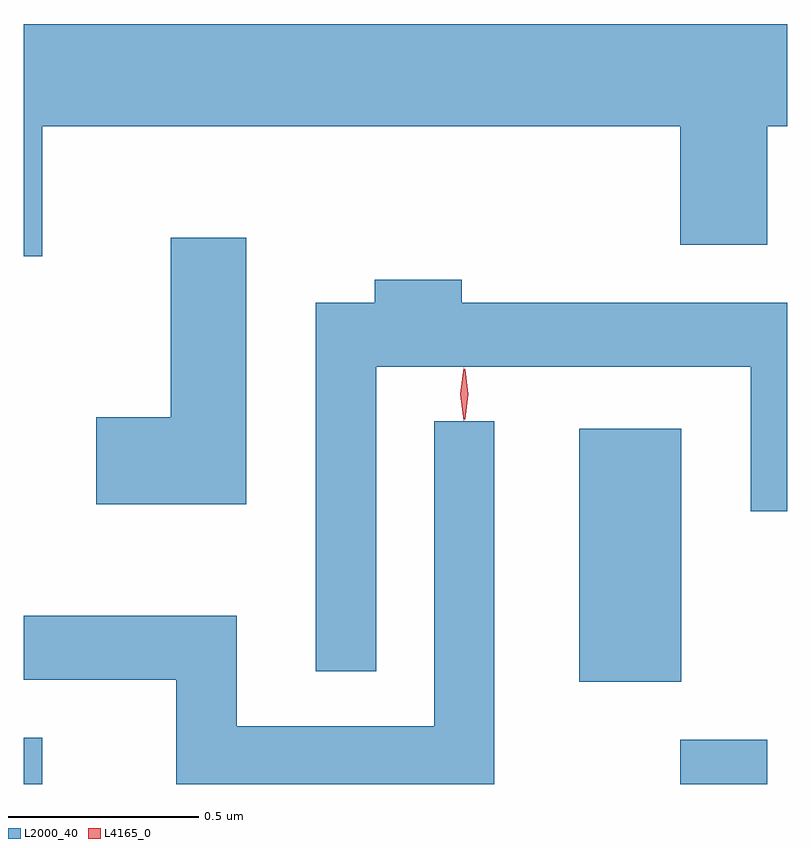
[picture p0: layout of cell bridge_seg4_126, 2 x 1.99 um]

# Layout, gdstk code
import gdstk
lib = gdstk.Library(unit=1e-6, precision=1e-09)
def R(c, l, rs):  # rectangles x0, y0, x1, y1
    for r in rs: c.add(gdstk.rectangle(r[:2], r[2:], *l))
def P(c, l, *ps):  # polygons
    for p in ps: c.add(gdstk.Polygon(p, *l))
L2000_40 = (2000, 40)
L4165_0 = (4165, 0)

bridge_seg4_126 = lib.new_cell('bridge_seg4_126')
R(bridge_seg4_126, L2000_40, [(885.721,1319.653,885.769,1319.774), (887.441,1319.653,887.669,1319.769), (887.176,1319.921,887.444,1320.584)])
P(bridge_seg4_126, L2000_40, [(885.769,1321.376),(887.441,1321.376),(887.441,1321.066),(887.669,1321.066),(887.669,1321.376),(887.721,1321.376),(887.721,1321.644),(885.721,1321.644),(885.721,1321.036),(885.769,1321.036)],
  [(886.304,1321.084),(886.106,1321.084),(886.106,1320.614),(885.911,1320.614),(885.911,1320.386),(886.304,1320.386)],
  [(886.644,1320.746),(887.626,1320.746),(887.626,1320.368),(887.721,1320.368),(887.721,1320.914),(886.869,1320.914),(886.869,1320.974),(886.641,1320.974),(886.641,1320.914),(886.486,1320.914),(886.486,1319.948),(886.644,1319.948)],
  [(886.954,1320.603),(886.796,1320.603),(886.796,1319.804),(886.279,1319.804),(886.279,1320.094),(885.721,1320.094),(885.721,1319.926),(886.121,1319.926),(886.121,1319.653),(886.954,1319.653)])
P(bridge_seg4_126, L4165_0, [(886.876,1320.607),(886.876,1320.608),(886.866,1320.674),(886.876,1320.74),(886.876,1320.741),(886.877,1320.74),(886.886,1320.674),(886.877,1320.608)],
  [(886.873,1320.604),(886.864,1320.674),(886.873,1320.743),(886.874,1320.743),(886.874,1320.743),(886.884,1320.674),(886.874,1320.604),(886.874,1320.604)])

lib.write_gds('bridge_seg4_126.gds')
